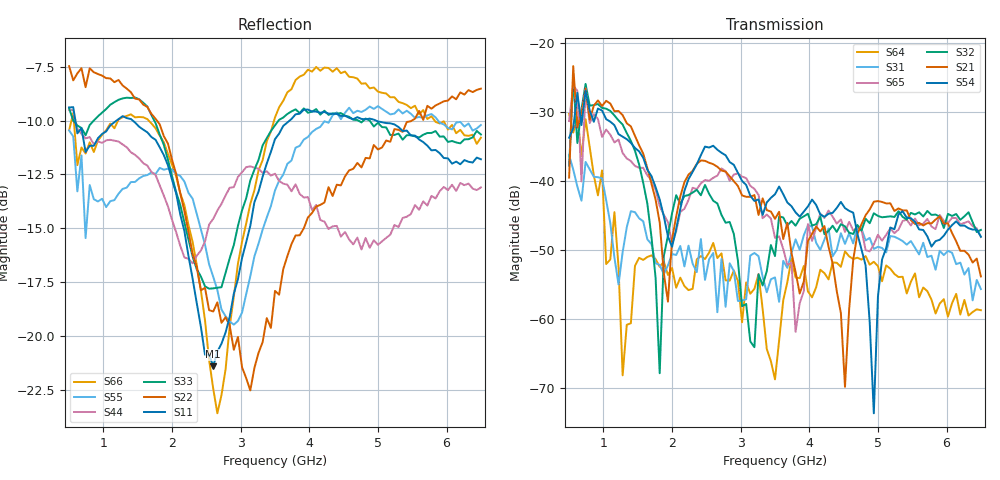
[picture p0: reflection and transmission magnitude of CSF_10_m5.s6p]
!Keysight Technologies,M9804A,MY58100912,A.14.10.03
!Date: Thursday, April 27, 2023 10:28:33
!Correction: S11(C  6-Port  )
!S12(C  6-Port  )
!S13(C  6-Port  )
!S14(C  6-Port  )
!S15(C  6-Port  )
!S16(C  6-Port  )
!S21(C  6-Port  )
!S22(C  6-Port  )
!S23(C  6-Port  )
!S24(C  6-Port  )
!S25(C  6-Port  )
!S26(C  6-Port  )
!S31(C  6-Port  )
!S32(C  6-Port  )
!S33(C  6-Port  )
!S34(C  6-Port  )
!S35(C  6-Port  )
!S36(C  6-Port  )
!S41(C  6-Port  )
!S42(C  6-Port  )
!S43(C  6-Port  )
!S44(C  6-Port  )
!S45(C  6-Port  )
!S46(C  6-Port  )
!S51(C  6-Port  )
!S52(C  6-Port  )
!S53(C  6-Port  )
!S54(C  6-Port  )
!S55(C  6-Port  )
!S56(C  6-Port  )
!S61(C  6-Port  )
!S62(C  6-Port  )
!S63(C  6-Port  )
!S64(C  6-Port  )
!S65(C  6-Port  )
!S66(C  6-Port  )
!S6P File: Measurement: :
# Hz S  RI  R 50
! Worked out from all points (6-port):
!   101 points, 500 MHz to 6.5 GHz, reference 50 ohm
!   strongest paths, dB at 500 MHz, 2 GHz, 3.5 GHz, 5 GHz, 6.5 GHz:
!     S54: -33.7, -49.5, -41.9, -56.7, -48.1
!     S21: -39.5, -48.4, -45.5, -42.9, -53.8
!     S32: -37.8, -44.7, -50.9, -45.1, -47.1
!     S65: -31.3, -49.1, -48.2, -47.8, -48.1
!     S31: -36.3, -50.6, -54.0, -49.5, -55.7
!     S64: -30.3, -52.6, -68.7, -52.3, -58.7
!   lowest |S11| = -21.4 dB at 2.6 GHz (marker M1), VSWR 1.19, Z = 42.5 + j2.19 ohm
!   |S11| at or under -10 dB: 590.6 MHz to 1.193 GHz (602.2 MHz wide, 67.5 % of centre); 1.426 GHz to 3.714 GHz (2.288 GHz wide, 89 % of centre); 4.969 GHz to end of sweep
